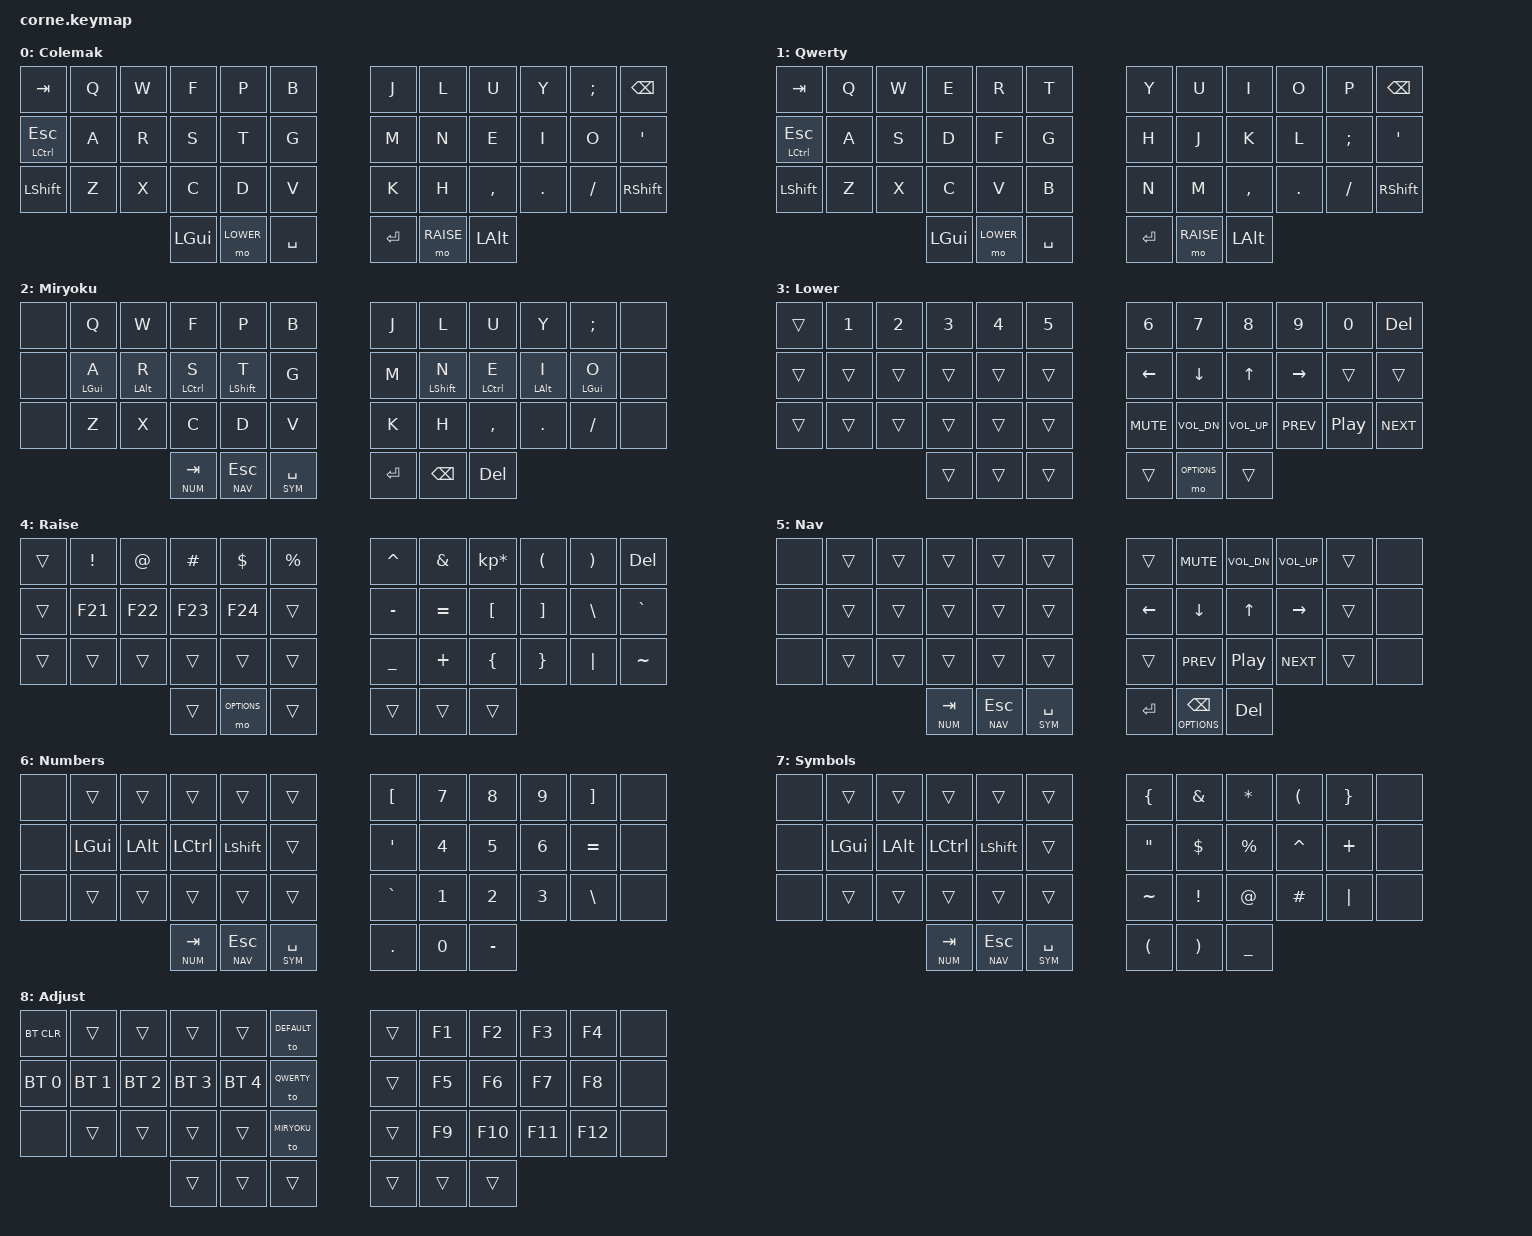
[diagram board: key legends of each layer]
/*
 * Copyright (c) 2020 The ZMK Contributors
 *
 * SPDX-License-Identifier: MIT
 */

#include <behaviors.dtsi>
#include <dt-bindings/zmk/keys.h>
#include <dt-bindings/zmk/bt.h>

#define DEFAULT 0
#define QWERTY  1
#define MIRYOKU 2
#define LOWER   3
#define RAISE   4
#define NAV     5
#define NUM     6
#define SYM     7
#define OPTIONS 8

/ {
    behaviors {
        lh_pht: left_hand_positional_hold_tap {
            compatible = "zmk,behavior-hold-tap";
            label = "LEFT_POSITIONAL_HOLD_TAP";
            #binding-cells = <2>;
            flavor = "tap-unless-interrupted";
            tapping-term-ms = <150>;
            quick-tap-ms = <0>;
            bindings = <&kp>, <&kp>;
            hold-trigger-key-positions = <7 8 9 10 11 12>;    // <---[[right-hand keys]]
        };

        rh_pht: right_hand_positional_hold_tap {
            compatible = "zmk,behavior-hold-tap";
            label = "RIGHT_POSITIONAL_HOLD_TAP";
            #binding-cells = <2>;
            flavor = "tap-unless-interrupted";
            tapping-term-ms = <150>;
            quick-tap-ms = <0>;
            bindings = <&kp>, <&kp>;
            hold-trigger-key-positions = <1 2 3 4 5 6>;    // <---[[left-hand keys]]
        };

        hm: homerow_mods {
            compatible = "zmk,behavior-hold-tap";
            label = "HOMEROW_MODS";
            #binding-cells = <2>;
            tapping-term-ms = <150>;
            quick-tap-ms = <0>;
            flavor = "tap-preferred";
            bindings = <&kp>, <&kp>;
        };

    };
  
    keymap {
            compatible = "zmk,keymap";

            default_layer {
                display-name = "Colemak";
// -----------------------------------------------------------------------------------------
// | TAB  |  Q  |  W  |  F  |  P  |  B  |   |  J  |  L   |  U  |  Y  |  ;  | BKSP |
// | CTRL |  A  |  R  |  S  |  T  |  G  |   |  M  |  N   |  E  |  I  |  O  |  '   |
// | SHFT |  Z  |  X  |  C  |  D  |  V  |   |  K  |  H   |  ,  |  .  |  /  | SHFT |
//                    | GUI | LWR | SPC |   | ENT | RSE  | ALT |
                        bindings = <
   &kp TAB        &kp Q  &kp W  &kp F  &kp P  &kp B     &kp J  &kp L  &kp U      &kp Y    &kp SEMI  &kp BSPC
   &mt LCTRL ESC  &kp A  &kp R  &kp S  &kp T  &kp G     &kp M  &kp N  &kp E      &kp I    &kp O     &kp SQT
   &kp LSHFT      &kp Z  &kp X  &kp C  &kp D  &kp V     &kp K  &kp H  &kp COMMA  &kp DOT  &kp FSLH  &kp RSHFT
                       &kp LGUI &mo LOWER &kp SPACE     &kp RET &mo RAISE &kp LALT
                    >;
            };

            qwerty_layer {
                display-name = "Qwerty";
// -----------------------------------------------------------------------------------------
// | TAB  |  Q  |  W  |  E  |  R  |  T  |   |  Y  |  U   |  I  |  O  |  P  | BKSP |
// | CTRL |  A  |  S  |  D  |  F  |  G  |   |  H  |  J   |  K  |  L  |  ;  |  '   |
// | SHFT |  Z  |  X  |  C  |  V  |  B  |   |  N  |  M   |  ,  |  .  |  /  | SHFT |
//                    | GUI | LWR | SPC |   | ENT | RSE  | ALT |
                        bindings = <
   &kp TAB        &kp Q  &kp W  &kp E  &kp R  &kp T     &kp Y  &kp U  &kp I      &kp O    &kp P     &kp BSPC
   &mt LCTRL ESC  &kp A  &kp S  &kp D  &kp F  &kp G     &kp H  &kp J  &kp K      &kp L    &kp SEMI  &kp SQT
   &kp LSHFT      &kp Z  &kp X  &kp C  &kp V  &kp B     &kp N  &kp M  &kp COMMA  &kp DOT  &kp FSLH  &kp RSHFT
                       &kp LGUI &mo LOWER &kp SPACE     &kp RET &mo RAISE &kp LALT
                      >;
              };

              miryoku_layer {
                display-name = "Miryoku";
// -----------------------------------------------------------------------------------------
// |      |  Q  |  D  |  R  |  W  |  B  |   |  J  |  F   |  U  |  P  |  ;  |      |
// |      |  A  |  S  |  H  |  T  |  G  |   |  Y  |  N   |  E  |  O  |  I  |      |
// |      |  Z  |  X  |  M  |  C  |  V  |   |  K  |  L   |  ,  |  .  |  /  |      |
//                    | GUI | LWR | SPC |   | ENT | RSE  | ALT |
                        bindings = <
   &none    &kp Q       &kp W       &kp F        &kp P        &kp B     &kp J  &kp L        &kp U            &kp Y         &kp SEMI       &none
   &none    &hm LGUI A  &hm LALT R  &hm LCTRL S  &hm LSHFT T  &kp G     &kp M  &hm LSHFT N  &hm LCTRL E      &hm LALT I    &hm LGUI O     &none
   &none    &kp Z       &kp X       &kp C        &kp D        &kp V     &kp K  &kp H        &kp COMMA        &kp DOT       &kp FSLH       &none
                             &lt NUM TAB  &lt NAV ESC  &lt SYM SPACE     &kp RET  &kp BSPC  &kp DEL
                    >;
            };

            lower_layer {
                display-name = "Lower";
// -----------------------------------------------------------------------------------------
// |      |  1  |  2  |  3  |  4  |  5  |   |  6  |  7  |  8  |  9  |  0  | DEL  |
// |      |     |     |     |     |     |   | LFT | DWN |  UP | RGT |     |      |
// |      |     |     |     |     |     |   | MUT | VO- | VO+ | PRV | PLY | NEXT |
//                    |     |     |     |   |     | OPT |     |
                        bindings = <
   &trans  &kp N1  &kp N2  &kp N3  &kp N4  &kp N5       &kp N6        &kp N7        &kp N8        &kp N9      &kp N0    &kp DEL
   &trans  &trans  &trans  &trans  &trans  &trans       &kp LEFT      &kp DOWN      &kp UP        &kp RIGHT   &trans    &trans
   &trans  &trans  &trans  &trans  &trans  &trans       &kp K_MUTE    &kp C_VOL_DN  &kp C_VOL_UP  &kp C_PREV  &kp C_PP  &kp C_NEXT
                           &trans  &trans  &trans       &trans        &mo OPTIONS   &trans
                    >;
            };

            raise_layer {
                display-name = "Raise";
// -----------------------------------------------------------------------------------------
// |      |  !  |  @  |  #  |  $  |  %  |   |  ^  |  &  |  *  |  (  |  )  | DEL  |
// |      | F21 | F22 | F23 | F24 |     |   |  -  |  =  |  [  |  ]  | "|" |  `   |
// |      |     |     |     |     |     |   |  _  |  +  |  {  |  }  |  \  |  ~   | 
//                    |     | OPT |     |   |     |     |     |
                        bindings = <
   &trans  &kp EXCL  &kp AT   &kp HASH  &kp DLLR     &kp PRCNT      &kp CARET  &kp AMPS   &kp KP_MULTIPLY  &kp LPAR  &kp RPAR         &kp DEL
   &trans  &kp F21   &kp F22  &kp F23   &kp F24      &trans         &kp MINUS  &kp EQUAL  &kp LBKT         &kp RBKT  &kp BSLH  &kp GRAVE
   &trans  &trans    &trans   &trans    &trans       &trans         &kp UNDER  &kp PLUS   &kp LBRC         &kp RBRC  &kp PIPE         &kp TILDE
                              &trans    &mo OPTIONS  &trans         &trans     &trans     &trans
                    >;
            };

            nav_layer {
                display-name = "Nav";
// -----------------------------------------------------------------------------------------
// |      |     |     |     |     |     |   |     | MUT | VO- | VO+ |     |      |
// |      |     |     |     |     |     |   | LFT | DWN |  UP | RGT |     |      |
// |      |     |     |     |     |     |   |     | PRV | PLY | NEXT|     |      |
//                    |     |     |     |   |     | OPT |     |
                        bindings = <
   &none  &trans  &trans  &trans  &trans  &trans       &trans        &kp K_MUTE    &kp C_VOL_DN  &kp C_VOL_UP    &trans  &none
   &none  &trans  &trans  &trans  &trans  &trans       &kp LEFT      &kp DOWN      &kp UP        &kp RIGHT       &trans  &none
   &none  &trans  &trans  &trans  &trans  &trans       &trans        &kp C_PREV    &kp C_PP      &kp C_NEXT      &trans  &none
          &lt NUM TAB  &lt NAV ESC  &lt SYM SPACE       &kp RET  &lt OPTIONS BSPC  &kp DEL
                    >;
            };

            num_layer {
                display-name = "Numbers";
// -----------------------------------------------------------------------------------------
// |      |     |     |     |     |     |   |  [  |  7  |  8  |  9  |  ]  |      |
// |      | GUI | ALT | CTRL|SHIFT|     |   |  '  |  4  |  5  |  6  |  =  |      |
// |      |     |     |     |     |     |   |  `  |  1  |  2  |  3  |  \  |      |
//                    |     |     |     |   |  .  |  0  |  -  |
                        bindings = <
   &none  &trans    &trans    &trans     &trans     &trans       &kp LBKT   &kp N7   &kp N8   &kp N9   &kp RBKT   &none
   &none  &kp LGUI  &kp LALT  &kp LCTRL  &kp LSHFT  &trans       &kp SQT    &kp N4   &kp N5   &kp N6   &kp EQUAL  &none
   &none  &trans    &trans    &trans     &trans     &trans       &kp GRAVE  &kp N1   &kp N2   &kp N3   &kp BSLH   &none
                   &lt NUM TAB  &lt NAV ESC  &lt SYM SPACE       &kp DOT  &kp N0  &kp MINUS
                    >;
            };

            sym_layer {
                display-name = "Symbols";
// -----------------------------------------------------------------------------------------
// |      |     |     |     |     |     |   |  {  |  &  |  *  |  (  |  }  |      |
// |      | GUI | ALT | CTRL|SHIFT|     |   |  "  |  $  |  %  |  ^  |  +  |      |
// |      |     |     |     |     |     |   |  ~  |  !  |  @  |  #  |  |  |      |
//                    |     |     |     |   |  (  |  )  |  _  |
                        bindings = <
   &none  &trans    &trans    &trans     &trans     &trans       &kp LBRC   &kp AMPS  &kp STAR   &kp LPAR   &kp RBRC  &none
   &none  &kp LGUI  &kp LALT  &kp LCTRL  &kp LSHFT  &trans       &kp DQT    &kp DLLR  &kp PRCNT  &kp CARET  &kp PLUS  &none
   &none  &trans    &trans    &trans     &trans     &trans       &kp TILDE  &kp EXCL  &kp AT     &kp HASH   &kp PIPE  &none
                    &lt NUM TAB  &lt NAV ESC  &lt SYM SPACE       &kp LPAR  &kp RPAR  &kp UNDER
                    >;
            };

           options_layer {
                display-name = "Adjust";
// -----------------------------------------------------------------------------------------
// | BCLR |     |     |     |     | DF1 |   |     | F1  | F2  | F3  | F4  |      |
// | BT1  | BT2 | BT3 | BT4 | BT5 | DF2 |   |     | F5  | F6  | F7  | F8  |      |
// |      |     |     |     |     | DF3 |   |     | F9  | F10 | F11 | F12 |      | 
//                    |     |     |     |   |     |     |     |
                        bindings = <
   &bt BT_CLR    &trans        &trans        &trans        &trans           &to DEFAULT         &trans       &kp F1  &kp F2   &kp F3  &kp F4   &none
   &bt BT_SEL 0  &bt BT_SEL 1  &bt BT_SEL 2  &bt BT_SEL 3  &bt BT_SEL 4     &to QWERTY          &trans       &kp F5  &kp F6   &kp F7  &kp F8   &none
   &none         &trans        &trans        &trans        &trans           &to MIRYOKU         &trans       &kp F9  &kp F10  &kp F11 &kp F12  &none
                                       &trans        &trans       &trans                        &trans       &trans  &trans
                    >;
            };
    };
};
